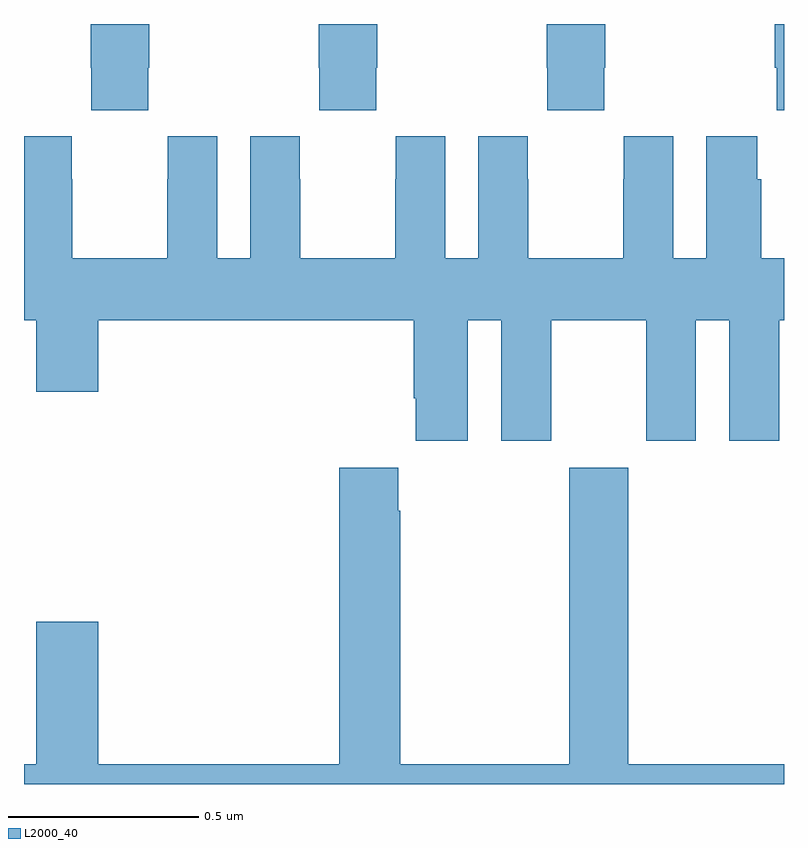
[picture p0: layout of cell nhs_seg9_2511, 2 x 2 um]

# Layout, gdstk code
import gdstk
lib = gdstk.Library(unit=1e-6, precision=1e-09)
def P(c, l, *ps):  # polygons
    for p in ps: c.add(gdstk.Polygon(p, *l))
L2000_40 = (2000, 40)

nhs_seg9_2511 = lib.new_cell('nhs_seg9_2511')
P(nhs_seg9_2511, L2000_40, [(141.927,1230.385),(141.93,1230.385),(141.93,1230.5),(141.775,1230.5),(141.775,1230.385),(141.777,1230.385),(141.777,1230.273),(141.927,1230.273)],
  [(142.527,1230.385),(142.53,1230.385),(142.53,1230.5),(142.375,1230.5),(142.375,1230.385),(142.377,1230.385),(142.377,1230.273),(142.527,1230.273)],
  [(143,1230.5),(142.975,1230.5),(142.975,1230.385),(142.981,1230.385),(142.981,1230.273),(143,1230.273)],
  [(141.327,1230.385),(141.33,1230.385),(141.33,1230.5),(141.175,1230.5),(141.175,1230.385),(141.177,1230.385),(141.177,1230.273),(141.327,1230.273)],
  [(142.168,1229.72),(142.256,1229.72),(142.256,1229.403),(142.387,1229.403),(142.387,1229.72),(142.637,1229.72),(142.637,1229.403),(142.768,1229.403),(142.768,1229.72),(142.856,1229.72),(142.856,1229.403),(142.987,1229.403),(142.987,1229.72),(143,1229.72),(143,1229.884),(142.94,1229.884),(142.94,1230.092),(142.93,1230.092),(142.93,1230.205),(142.796,1230.205),(142.796,1229.884),(142.708,1229.884),(142.708,1230.205),(142.578,1230.205),(142.578,1230.092),(142.577,1230.092),(142.577,1229.884),(142.327,1229.884),(142.327,1230.092),(142.326,1230.092),(142.326,1230.205),(142.196,1230.205),(142.196,1229.884),(142.108,1229.884),(142.108,1230.205),(141.978,1230.205),(141.978,1230.092),(141.977,1230.092),(141.977,1229.884),(141.727,1229.884),(141.727,1230.092),(141.726,1230.092),(141.726,1230.205),(141.596,1230.205),(141.596,1229.884),(141.508,1229.884),(141.508,1230.205),(141.378,1230.205),(141.378,1230.092),(141.377,1230.092),(141.377,1229.884),(141.127,1229.884),(141.127,1230.092),(141.126,1230.092),(141.126,1230.205),(141,1230.205),(141,1229.72),(141.032,1229.72),(141.032,1229.532),(141.196,1229.532),(141.196,1229.72),(142.025,1229.72),(142.025,1229.515),(142.031,1229.515),(142.031,1229.403),(142.168,1229.403)],
  [(143,1228.552),(142.59,1228.552),(142.59,1229.332),(142.435,1229.332),(142.435,1228.552),(141.99,1228.552),(141.99,1229.219),(141.985,1229.219),(141.985,1229.332),(141.83,1229.332),(141.83,1228.552),(141.196,1228.552),(141.196,1228.927),(141.032,1228.927),(141.032,1228.552),(141,1228.552),(141,1228.5),(143,1228.5)])

lib.write_gds('nhs_seg9_2511.gds')
